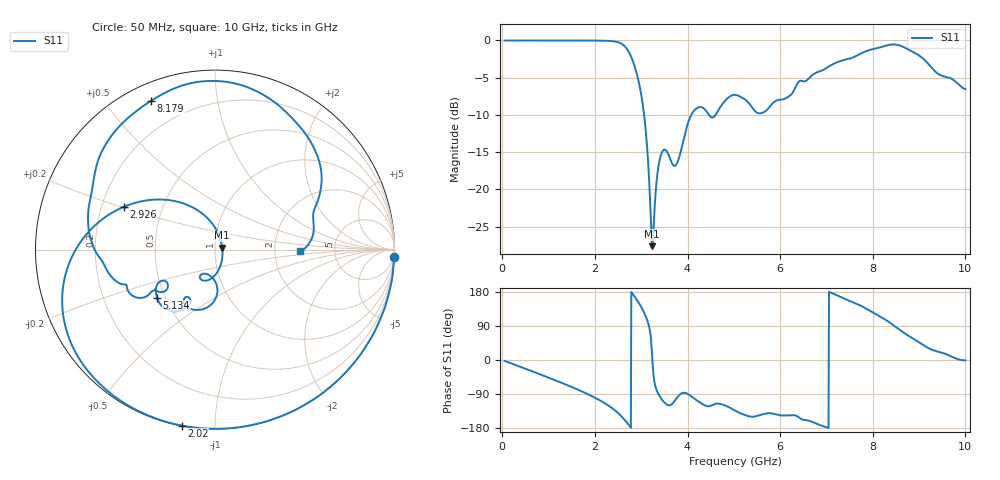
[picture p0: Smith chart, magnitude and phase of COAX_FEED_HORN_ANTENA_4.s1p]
! TOUCHSTONE file generated by CST MICROWAVE STUDIO
! Date and time: Mon Feb  2 19:24:08 2026
! Project name: COAX_FEED_HORN_ANTENA.cst
! Parameters = {coax_feed_dielectric_dia=4.14; coax_feed_dielectric_inside_len=15; coax_feed_offset_z=20; coax_feed_outside_dia=5; coax_feed_outside_len=5; coax_feed_pin_dia=1.27; coax_feed_pin_len_inside=17.9; horn_length=90; horn_opening_height=100; horn_opening_width=100; shield_thickness=1.6; wa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
! Header version: 2024
! Port assignment regex: !\s*Touchstone port\s*([0-9]+)\s*=\s*(CST MWS port|CST DES external port|CST DES block port)\s*(.+)\s* \(\"(.*)\"\)(\s*mode\s*([0-9]+))?.*
! Touchstone port assignment:
! Touchstone port 1 = CST MWS port 1 ("")
# GHz S DB R 50
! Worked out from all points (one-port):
!   1001 points, 50 MHz to 10 GHz, reference 50 ohm
!   lowest |S11| = -27.6 dB at 3.234 GHz (marker M1), VSWR 1.09, Z = 54.2 + j1.12 ohm
!   |S11| at or under -10 dB: 3.062 GHz to 4.08 GHz (1.018 GHz wide, 28.5 % of centre); 4.464 GHz to 4.604 GHz (140.7 MHz wide, 3.1 % of centre)
!   S11 on the Smith chart (normalised r, x): 50 MHz: 1, -49; 2.02 GHz: 0.00, -0.83; 2.926 GHz: 0.29, +0.20; 5.134 GHz: 0.45, -0.30; 8.179 GHz: 0.07, +0.66; 10 GHz: 2.78, -0.06
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0.05  -0.01 -2.4
0.647  -0.01 -29.9
1.29375  -0.01 -60.8
2.0201  -0.02 -100.7
2.30865  -0.06 -121.6
2.5375  -0.32 -144.3
2.72655  -1.49 -170.8
2.92555  -5.00 155.0
3.08475  -11.27 118.9
3.234  -27.61 14.3
3.2738  -24.19 -49.3
3.36335  -17.27 -87.9
3.44295  -15.08 -103.7
3.78125  -16.35 -98.0
4.13945  -9.43 -101.2
4.55735  -10.30 -117.9
5.025  -7.30 -133.4
5.13445  -7.53 -140.1
5.57225  -9.78 -144.8
6.26875  -7.02 -145.8
6.96525  -3.83 -175.8
7.5125  -2.42 155.3
7.8309  -1.50 137.2
8.17915  -0.89 113.3
8.47765  -0.55 89.0
8.75625  -1.18 65.1
9.1443  -2.77 35.3
10  -6.53 -1.0
